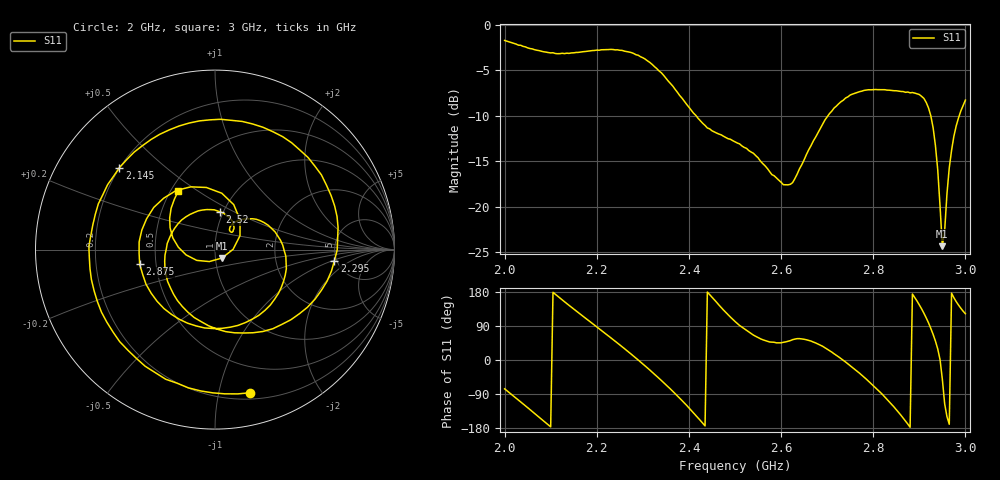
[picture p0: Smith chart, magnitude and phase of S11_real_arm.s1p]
!Agilent Technologies,E8363A,US42130174,A.06.04.32
!Agilent E8363A: A.06.04.32
!Date: Tuesday, November 28, 2023 16:34:05
!Correction: S11(Full 1 Port(1))
!S1P File: Measurement: S11:
# Hz S  RI  R 50
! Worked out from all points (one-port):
!   201 points, 2 GHz to 3 GHz, reference 50 ohm
!   lowest |S11| = -24.3 dB at 2.95 GHz (marker M1), VSWR 1.13, Z = 53.7 - j5.09 ohm
!   |S11| at or under -10 dB: 2.416 GHz to 2.702 GHz (285.8 MHz wide, 11.2 % of centre); 2.925 GHz to 2.987 GHz (61.54 MHz wide, 2.08 % of centre)
!   S11 on the Smith chart (normalised r, x): 2 GHz: 0.25, -1.25; 2.145 GHz: 0.20, +0.36; 2.295 GHz: 4.78, -1.06; 2.52 GHz: 0.97, +0.43; 2.875 GHz: 0.40, -0.08; 3 GHz: 0.55, +0.42
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2e9  0.1974 -0.7972
2.035e9  -0.2745 -0.7223
2.07e9  -0.6022 -0.4051
2.095e9  -0.6965 -0.1061
2.125e9  -0.65 0.2548
2.145e9  -0.5324 0.4569
2.2e9  0.0313 0.726
2.25e9  0.5567 0.4649
2.295e9  0.6656 -0.0615
2.34e9  0.3223 -0.4409
2.375e9  -0.035 -0.4248
2.43e9  -0.2803 -0.0646
2.5e9  -0.0465 0.223
2.52e9  0.0287 0.2102
2.625e9  0.0805 0.1093
2.695e9  0.2527 0.1609
2.75e9  0.3975 -0.1071
2.785e9  0.2784 -0.3385
2.82e9  -0.00707 -0.4399
2.85e9  -0.2842 -0.3287
2.875e9  -0.4198 -0.0816
2.9e9  -0.341 0.2351
2.915e9  -0.1346 0.3497
2.925e9  0.0377 0.3141
2.94e9  0.1392 0.0772
2.95e9  0.0383 -0.0472
2.97e9  -0.2041 0.0131
3e9  -0.2048 0.3271
